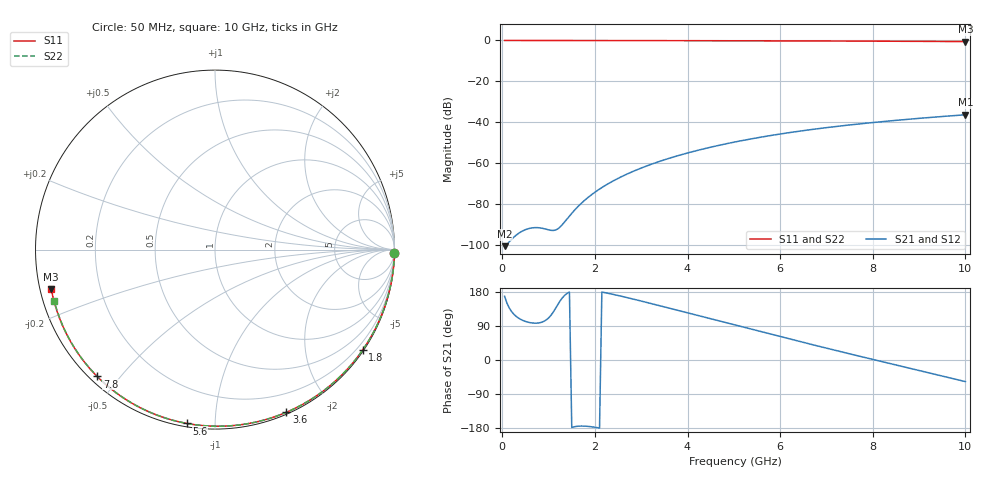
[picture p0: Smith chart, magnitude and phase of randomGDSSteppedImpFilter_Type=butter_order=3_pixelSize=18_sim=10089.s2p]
! freq	dB(S11)	phase(S11)	dB(S12)	phase(S12)
!  dB(S21)	phase(S21)	dB(S22)	phase(S22)
!S-par simulation data
#  GHz  S  DB  R 50
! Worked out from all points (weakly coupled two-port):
!   200 points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, 50 MHz to 10 GHz, reference 50 ohm
!   highest |S21| = -36.36 dB at 10 GHz (marker M1); lowest = -100.6 dB at 50 MHz (marker M2)
!   lowest |S11| = -0.6 dB at 10 GHz (marker M3), VSWR 31.59, Z = 1.61 - j5.96 ohm
!   |S11| at or under -10 dB: nowhere
!   |S22| runs from -0.5 to 0.0 dB; largest |S21 - S12| = 0
!   S11 on the Smith chart (normalised r, x): 50 MHz: open; 1.8 GHz: 0.03, -3.26; 3.6 GHz: 0.02, -1.53; 5.6 GHz: 0.02, -0.85; 7.8 GHz: 0.02, -0.44; 10 GHz: 0.03, -0.12
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0.05  -0.00 -1.0  -100.63 168.1  -100.63 168.1  -0.00 -1.0
0.8  -0.02 -15.4  -91.64 98.1  -91.64 98.1  -0.02 -15.2
1.2  -0.03 -22.9  -92.16 146.6  -92.16 146.6  -0.03 -22.6
1.65  -0.04 -31.3  -80.88 -174.6  -80.88 -174.6  -0.04 -30.9
1.7  -0.04 -32.3  -79.79 -174.3  -79.79 -174.3  -0.04 -31.8
1.75  -0.04 -33.2  -78.75 -174.4  -78.75 -174.4  -0.04 -32.8
1.8  -0.04 -34.1  -77.76 -174.7  -77.76 -174.7  -0.04 -33.7
2.1  -0.05 -39.6  -72.69 -179.5  -72.69 -179.5  -0.05 -39.1
2.3  -0.06 -43.3  -69.90 175.7  -69.90 175.7  -0.05 -42.7
2.5  -0.06 -46.9  -67.46 170.3  -67.46 170.3  -0.06 -46.3
2.9  -0.07 -54.1  -63.32 158.6  -63.32 158.6  -0.07 -53.4
3.4  -0.08 -62.8  -59.12 143.2  -59.12 143.2  -0.08 -62.0
3.6  -0.09 -66.3  -57.67 137.0  -57.67 137.0  -0.09 -65.4
4.3  -0.11 -78.2  -53.29 115.0  -53.29 115.0  -0.11 -77.1
5.05  -0.14 -90.5  -49.54 91.4  -49.54 91.4  -0.14 -89.1
5.6  -0.16 -99.2  -47.24 74.2  -47.24 74.2  -0.16 -97.7
6.15  -0.19 -107.8  -45.24 57.2  -45.24 57.2  -0.19 -106.1
6.7  -0.23 -116.3  -43.50 40.4  -43.50 40.4  -0.22 -114.3
7.8  -0.31 -132.9  -40.61 7.4  -40.61 7.4  -0.30 -130.4
8.35  -0.37 -141.2  -39.39 -8.7  -39.39 -8.7  -0.35 -138.4
9.2  -0.46 -154.0  -37.73 -33.5  -37.73 -33.5  -0.44 -150.7
10  -0.55 -166.4  -36.36 -57.0  -36.36 -57.0  -0.54 -162.4
